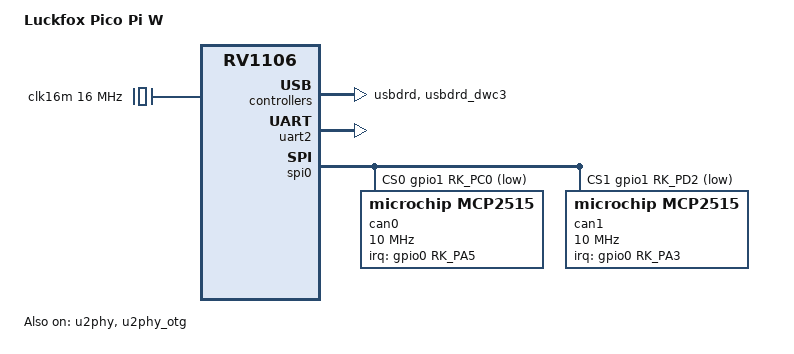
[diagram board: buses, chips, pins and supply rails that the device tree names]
// SPDX-License-Identifier: (GPL-2.0+ OR MIT)
/*
 * Copyright (c) 2022 Rockchip Electronics Co., Ltd.
 */

/dts-v1/;

#include "rv1106-luckfox-core1106-w.dtsi"

/ {
	model = "Luckfox Pico Pi W";
	compatible = "luckfox,core1106-pico-pi-w", "luckfox,core1106-w", "rockchip,rv1106";

	chosen {
		stdout-path = "serial2:115200n8";
	};

	clocks {
		clk16m: clk16m {
			compatible = "fixed-clock";
			#clock-cells = <0>;
			clock-frequency = <16000000>;
			clock-output-names = "clk16m";
		};
	};
};

&u2phy {
	status = "okay";
};

&u2phy_otg {
	status = "okay";
};

&usbdrd {
	status = "okay";
};

&usbdrd_dwc3 {
	status = "okay";
	usb-role-switch;
};

&uart2 {
	pinctrl-0 = <&uart2m1_xfer>;
	status = "okay";
};

&spi0 {
	pinctrl-0 = <&spi0m0_pins>;
	cs-gpios = <&gpio1 RK_PC0 GPIO_ACTIVE_LOW>, <&gpio1 RK_PD2 GPIO_ACTIVE_LOW>;
	status = "okay";

	can0: can@0 {
		compatible = "microchip,mcp2515";
		reg = <0>;
		clocks = <&clk16m>;
		interrupt-parent = <&gpio0>;
		interrupts = <RK_PA5 IRQ_TYPE_LEVEL_LOW>;
		spi-max-frequency = <10000000>;
	};

	can1: can@1 {
		compatible = "microchip,mcp2515";
		reg = <1>;
		clocks = <&clk16m>;
		interrupt-parent = <&gpio0>;
		interrupts = <RK_PA3 IRQ_TYPE_LEVEL_LOW>;
		spi-max-frequency = <10000000>;
	};
};
